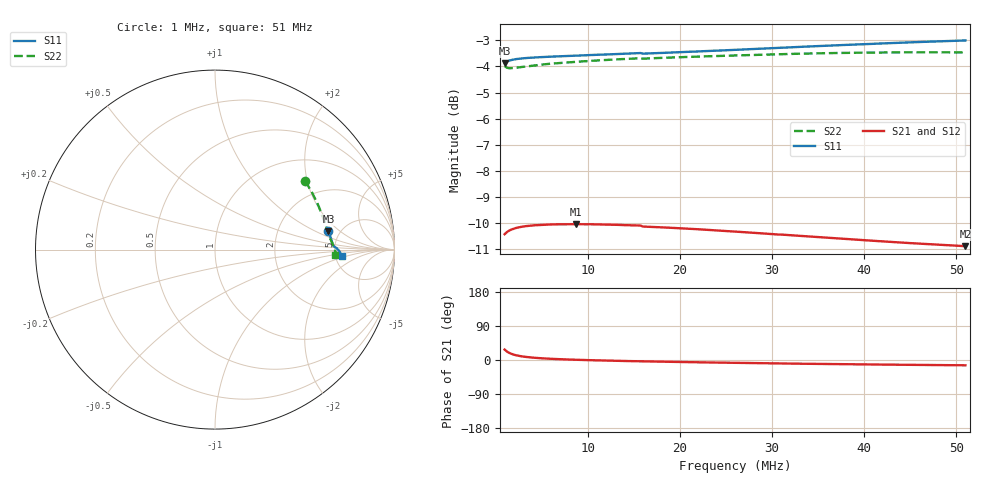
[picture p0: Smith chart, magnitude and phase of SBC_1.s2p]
# MHz S RI R 50
! S-Parameters data
! Freq  reS11  imS11  reS21  imS21  reS12  imS12  reS22  imS22
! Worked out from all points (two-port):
!   201 points, 1 MHz to 51 MHz, reference 50 ohm
!   highest |S21| = -10.03 dB at 8.75 MHz (marker M1); lowest = -10.9 dB at 51 MHz (marker M2)
!   |S21| within 3 dB of the highest: start of sweep to end of sweep
!   lowest |S11| = -3.9 dB at 1 MHz (marker M3), VSWR 4.56, Z = 202 + j70 ohm
!   |S11| at or under -10 dB: nowhere
!   |S22| runs from -4.1 to -3.5 dB; largest |S21 - S12| = 0.00066
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1  0.6317 0.1023  0.2671 0.1396  0.2673 0.1397  0.5032 0.3814
1.25  0.6385 0.0849  0.2814 0.1157  0.2817 0.1158  0.54 0.3191
1.5  0.6429 0.0727  0.29 0.0985  0.2903 0.0986  0.5622 0.2745
1.75  0.6457 0.0639  0.2956 0.0855  0.2961 0.0856  0.5775 0.2418
2  0.6477 0.057  0.2995 0.0753  0.3 0.0753  0.5878 0.2157
2.25  0.6494 0.0517  0.3025 0.067  0.3029 0.067  0.5956 0.1954
2.5  0.6506 0.0474  0.3047 0.0602  0.3051 0.0602  0.6018 0.1791
3  0.6524 0.0408  0.3078 0.0494  0.3082 0.0494  0.6106 0.1536
3.5  0.6538 0.0362  0.3099 0.0413  0.3102 0.0413  0.6166 0.1351
4  0.6549 0.0327  0.3112 0.0347  0.3117 0.0347  0.6213 0.1209
5.25  0.6571 0.0269  0.3134 0.0228  0.3137 0.0228  0.629 0.0969
6.75  0.659 0.0229  0.3146 0.0129  0.3149 0.0129  0.635 0.0792
8.75  0.6612 0.0197  0.315 0.00331  0.3154 0.00327  0.6405 0.0644
9.5  0.662 0.0188  0.3149 0.000366  0.3154 0.00029  0.6422 0.0604
12.5  0.6651 0.0162  0.3141 -0.00993  0.3146 -0.0101  0.6478 0.048
15.75  0.6689 0.0141  0.3126 -0.019  0.3129 -0.0191  0.6528 0.0392
16  0.6672 0.0153  0.3112 -0.019  0.3113 -0.0186  0.6516 0.0385
17.75  0.6689 0.014  0.31 -0.0233  0.31 -0.0229  0.6537 0.0342
26  0.6783 0.00708  0.3023 -0.04  0.3022 -0.0395  0.6617 0.0177
34.5  0.6892 -0.00409  0.2934 -0.0529  0.2933 -0.0524  0.6679 0.00143
42.75  0.6985 -0.0188  0.2848 -0.062  0.2848 -0.0614  0.6706 -0.0149
51  0.7061 -0.0382  0.2775 -0.0692  0.2775 -0.0686  0.6699 -0.0326
